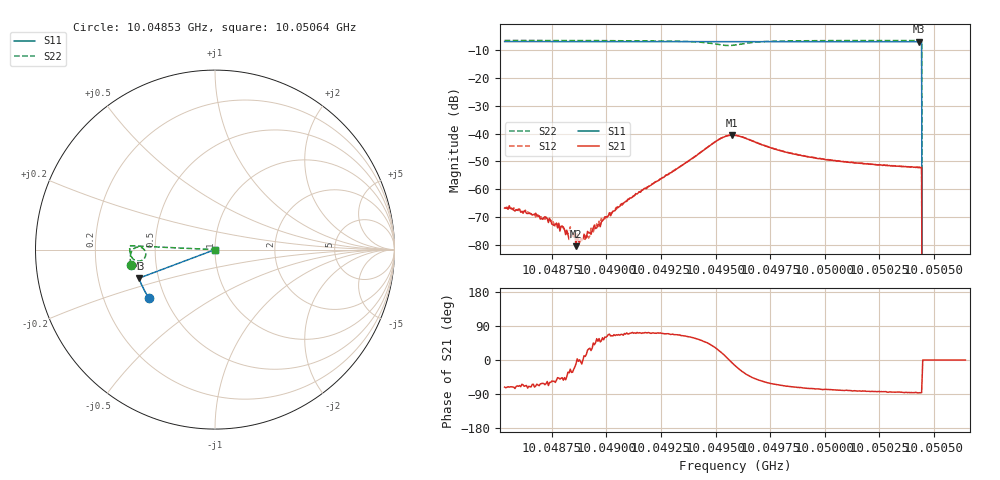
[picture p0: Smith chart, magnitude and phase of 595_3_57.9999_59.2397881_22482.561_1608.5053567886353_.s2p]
#  HZ  S  RI  R  50.00
! Rohde & Schwarz Vector Network Analyzer
! Rohde-Schwarz,ZNB20-2Port,1311601062101988,3.16
! Created: UTC 3/21/2024, 1:17:00 AM
! freq[Hz]  re:S11  im:S11  re:S21  im:S21  re:S12  im:S12  re:S22  im:S22
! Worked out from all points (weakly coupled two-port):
!   401 points, 10.04853 GHz to 10.05064 GHz, reference 50 ohm
!   highest |S21| = -40.52 dB at 10.04957 GHz (marker M1); lowest = -80.5 dB at 10.04886 GHz (marker M2)
!   lowest |S11| = -6.9 dB at 10.05043 GHz (marker M3), VSWR 2.65, Z = 19.4 - j7.79 ohm
!   |S11| at or under -10 dB: 10.05044 GHz to end of sweep
!   |S22| runs from - to -6.4 dB; largest |S21 - S12| = 0.00071
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1.0048534e10  -0.3672 -0.2705  0.000146 -0.000435  0.000159 -0.000439  -0.4696 -0.0831
1.0048682e10  -0.3726 -0.2623  0.00015 -0.000303  0.000171 -0.000321  -0.471 -0.0722
1.0048745e10  -0.375 -0.2588  0.00014 -0.000234  0.000138 -0.000228  -0.4715 -0.0673
1.0048808e10  -0.3773 -0.2551  0.000129 -0.000136  0.000118 -0.000145  -0.4719 -0.0623
1.0048824e10  -0.3778 -0.2543  0.000127 -7.97e-05  0.000129 -9.29e-05  -0.4718 -0.0611
1.0048861e10  -0.3791 -0.2522  9.3e-05 -1.57e-05  0.000119 -2.64e-05  -0.472 -0.0581
1.0048872e10  -0.3795 -0.2517  0.000121 -7.41e-06  0.000131 -3.81e-05  -0.4721 -0.057
1.0048887e10  -0.3798 -0.2508  0.00012 -2.22e-05  0.000119 7.06e-06  -0.472 -0.0558
1.0048914e10  -0.3809 -0.2493  0.000156 7.58e-05  0.000127 6.25e-05  -0.472 -0.0536
1.0048967e10  -0.3827 -0.2463  0.000129 0.000194  0.000146 0.000221  -0.4721 -0.0489
1.0049004e10  -0.3838 -0.2443  0.000147 0.000288  0.000134 0.000277  -0.4722 -0.0456
1.0049056e10  -0.3857 -0.2412  0.000185 0.000439  0.000184 0.000442  -0.4719 -0.0406
1.0049241e10  -0.3916 -0.2305  0.00048 0.00138  0.000407 0.00139  -0.4684 -0.02
1.0049515e10  -0.3994 -0.2143  0.00711 0.00334  0.00688 0.00383  -0.4022 0.00732
1.0049573e10  -0.4008 -0.2113  0.00936 -0.00104  0.00943 -0.000329  -0.3866 -0.0337
1.0049589e10  -0.4013 -0.2107  0.00902 -0.00236  0.00922 -0.00176  -0.3914 -0.0458
1.0049785e10  -0.4075 -0.1994  0.00213 -0.00461  0.00239 -0.00456  -0.4619 -0.0456
1.0049943e10  -0.4118 -0.1898  0.000946 -0.00362  0.00116 -0.00358  -0.4717 -0.0234
1.0050296e10  -0.4206 -0.1683  0.000273 -0.00266  0.000439 -0.00263  -0.4755 0.00991
1.0050434e10  -0.4234 -0.1599  0.000156 -0.00244  0.00031 -0.00246  -0.4753 0.0208
1.005046e10  0 0  0 0  0 0  0 0
1.0050645e10  0 0  0 0  0 0  0 0
